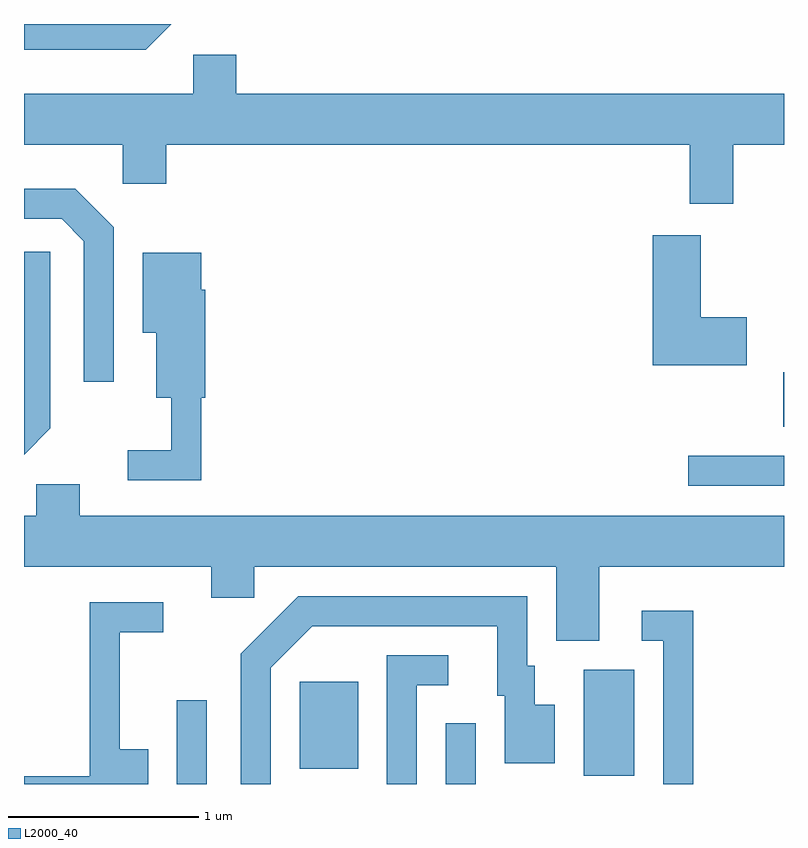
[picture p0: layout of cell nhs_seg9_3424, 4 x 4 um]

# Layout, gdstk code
import gdstk
lib = gdstk.Library(unit=1e-6, precision=1e-09)
def R(c, l, rs):  # rectangles x0, y0, x1, y1
    for r in rs: c.add(gdstk.rectangle(r[:2], r[2:], *l))
def P(c, l, *ps):  # polygons
    for p in ps: c.add(gdstk.Polygon(p, *l))
L2000_40 = (2000, 40)

nhs_seg9_3424 = lib.new_cell('nhs_seg9_3424')
R(nhs_seg9_3424, L2000_40, [(286.416,2008.432,286.574,2008.873), (287.831,2008.432,287.989,2008.753), (288.556,2008.476,288.824,2009.034), (287.061,2008.511,287.369,2008.969), (289.108,2010.001,289.611,2010.159), (289.606,2010.311,289.611,2010.599)])
P(nhs_seg9_3424, L2000_40, [(286.387,2012.432),(285.611,2012.432),(285.611,2012.296),(286.252,2012.296)],
  [(289.344,2011.796),(289.611,2011.796),(289.611,2012.064),(286.729,2012.064),(286.729,2012.269),(286.501,2012.269),(286.501,2012.064),(285.611,2012.064),(285.611,2011.796),(286.131,2011.796),(286.131,2011.591),(286.359,2011.591),(286.359,2011.796),(289.116,2011.796),(289.116,2011.486),(289.344,2011.486)],
  [(286.084,2011.362),(285.882,2011.564),(285.611,2011.564),(285.611,2011.406),(285.809,2011.406),(285.926,2011.289),(285.926,2010.548),(286.084,2010.548)],
  [(289.414,2010.889),(289.174,2010.889),(289.174,2011.319),(288.921,2011.319),(288.921,2010.636),(289.414,2010.636)],
  [(285.749,2010.304),(285.749,2011.234),(285.611,2011.234),(285.611,2010.166)],
  [(286.544,2010.466),(286.564,2010.466),(286.564,2011.034),(286.544,2011.034),(286.544,2011.229),(286.236,2011.229),(286.236,2010.806),(286.306,2010.806),(286.306,2010.466),(286.386,2010.466),(286.386,2010.189),(286.158,2010.189),(286.158,2010.031),(286.544,2010.031)],
  [(288.639,2009.576),(289.611,2009.576),(289.611,2009.844),(285.904,2009.844),(285.904,2010.009),(285.676,2010.009),(285.676,2009.844),(285.611,2009.844),(285.611,2009.576),(286.596,2009.576),(286.596,2009.411),(286.824,2009.411),(286.824,2009.576),(288.411,2009.576),(288.411,2009.186),(288.639,2009.186)],
  [(286.909,2009.044),(287.127,2009.261),(288.101,2009.261),(288.101,2008.896),(288.141,2008.896),(288.141,2008.541),(288.404,2008.541),(288.404,2008.849),(288.299,2008.849),(288.299,2009.054),(288.259,2009.054),(288.259,2009.419),(287.054,2009.419),(286.751,2009.117),(286.751,2008.432),(286.909,2008.432)],
  [(286.264,2008.614),(286.114,2008.614),(286.114,2009.231),(286.343,2009.231),(286.343,2009.389),(285.956,2009.389),(285.956,2008.474),(285.611,2008.474),(285.611,2008.432),(286.264,2008.432)],
  [(289.134,2009.344),(288.863,2009.344),(288.863,2009.186),(288.976,2009.186),(288.976,2008.432),(289.134,2008.432)],
  [(287.679,2008.951),(287.843,2008.951),(287.843,2009.109),(287.521,2009.109),(287.521,2008.432),(287.679,2008.432)])

lib.write_gds('nhs_seg9_3424.gds')
